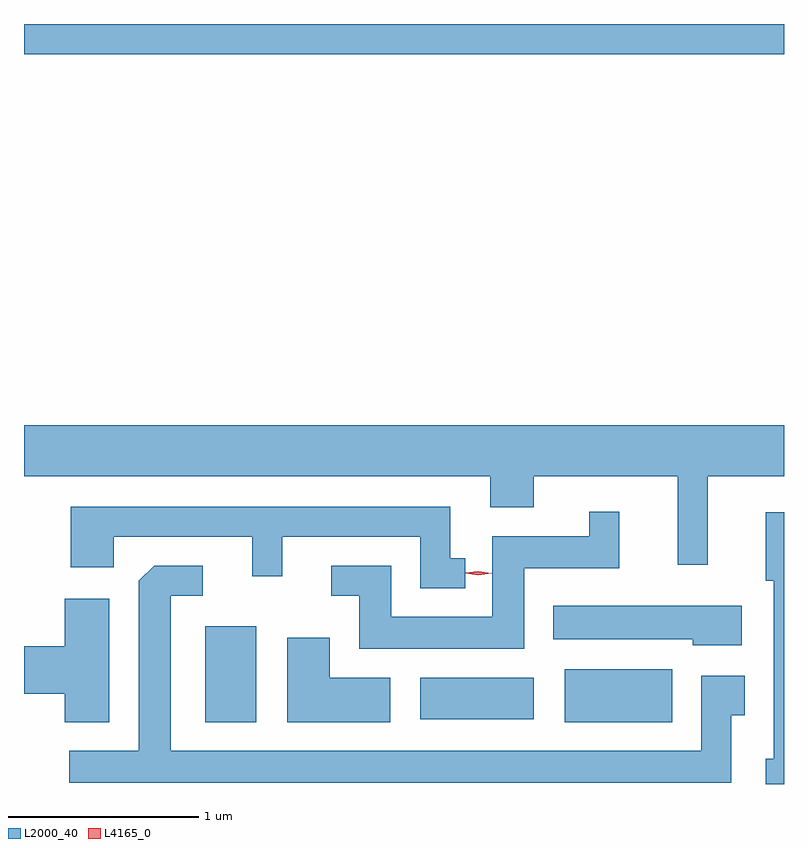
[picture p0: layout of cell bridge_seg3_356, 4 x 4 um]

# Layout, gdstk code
import gdstk
lib = gdstk.Library(unit=1e-6, precision=1e-09)
def R(c, l, rs):  # rectangles x0, y0, x1, y1
    for r in rs: c.add(gdstk.rectangle(r[:2], r[2:], *l))
def P(c, l, *ps):  # polygons
    for p in ps: c.add(gdstk.Polygon(p, *l))
L2000_40 = (2000, 40)
L4165_0 = (4165, 0)

bridge_seg3_356 = lib.new_cell('bridge_seg3_356')
R(bridge_seg3_356, L2000_40, [(677.051,1211.301,677.319,1211.804), (678.941,1211.301,679.509,1211.579), (678.181,1211.316,678.779,1211.534), (676.096,1214.816,680.096,1214.975)])
P(bridge_seg3_356, L2000_40, [(679.694,1212.596),(680.096,1212.596),(680.096,1212.864),(676.096,1212.864),(676.096,1212.596),(678.551,1212.596),(678.551,1212.431),(678.779,1212.431),(678.779,1212.596),(679.536,1212.596),(679.536,1212.128),(679.694,1212.128)],
  [(678.418,1212.164),(678.339,1212.164),(678.339,1212.434),(676.341,1212.434),(676.341,1212.116),(676.569,1212.116),(676.569,1212.276),(677.296,1212.276),(677.296,1212.068),(677.454,1212.068),(677.454,1212.276),(678.181,1212.276),(678.181,1212.006),(678.418,1212.006)],
  [(678.729,1212.111),(679.229,1212.111),(679.229,1212.408),(679.071,1212.408),(679.071,1212.279),(678.561,1212.279),(678.561,1211.854),(678.029,1211.854),(678.029,1212.124),(677.713,1212.124),(677.713,1211.966),(677.861,1211.966),(677.861,1211.686),(678.729,1211.686)],
  [(680.096,1212.404),(680.001,1212.404),(680.001,1212.046),(680.041,1212.046),(680.041,1211.109),(680.001,1211.109),(680.001,1210.975),(680.096,1210.975)],
  [(679.819,1211.336),(679.889,1211.336),(679.889,1211.544),(679.661,1211.544),(679.661,1211.149),(676.869,1211.149),(676.869,1211.966),(677.038,1211.966),(677.038,1212.124),(676.782,1212.124),(676.701,1212.044),(676.701,1211.149),(676.333,1211.149),(676.333,1210.981),(679.819,1210.981)],
  [(676.544,1211.949),(676.311,1211.949),(676.311,1211.699),(676.096,1211.699),(676.096,1211.451),(676.311,1211.451),(676.311,1211.301),(676.544,1211.301)],
  [(679.874,1211.914),(678.881,1211.914),(678.881,1211.736),(679.616,1211.736),(679.616,1211.706),(679.874,1211.706)],
  [(678.024,1211.534),(677.704,1211.534),(677.704,1211.744),(677.481,1211.744),(677.481,1211.301),(678.024,1211.301)])
P(bridge_seg3_356, L4165_0, [(678.488,1212.075),(678.419,1212.084),(678.419,1212.085),(678.419,1212.086),(678.488,1212.095),(678.558,1212.085),(678.558,1212.084),(678.558,1212.084)])

lib.write_gds('bridge_seg3_356.gds')
